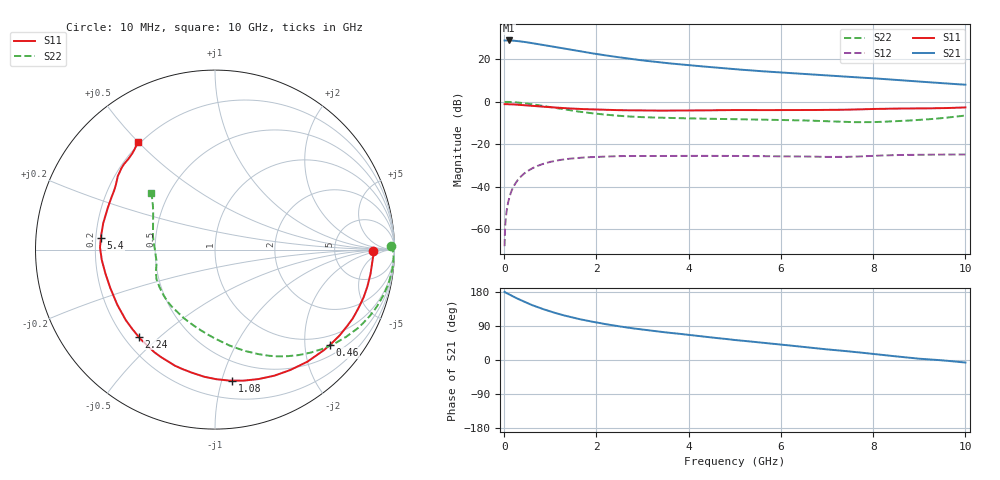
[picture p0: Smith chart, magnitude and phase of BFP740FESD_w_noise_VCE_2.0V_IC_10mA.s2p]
! Infineon Technologies  Discrete & RF Semiconductors
! BFP740FESD
! VCE =  2.0 V,  IC =  10 mA
! Common Emitter S-Parameters:  Jan 2016
# GHz  S  MA  R  50
!  f  S11  S21  S12  S22
! GHz  MAG  ANG  MAG  ANG  MAG  ANG  MAG  ANG
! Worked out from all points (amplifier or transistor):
!   233 points, 10 MHz to 10 GHz, reference 50 ohm
!   highest |S21| = 28.9 dB at 100 MHz (marker M1)
!   |S21| within 3 dB of that: start of sweep to 1.086 GHz
!   unconditionally stable (mu >= 1): 6.439 GHz to end of sweep
!   at 200 MHz: K = 0.04, MSG = 34.4 dB, |S12| = -40.1 dB
!   at 1.74 GHz: K = 0.30, MSG = 24.8 dB, |S12| = -26.2 dB
!   at 10 GHz: K = 1.33, MAG = 13.0 dB, |S12| = -24.8 dB
!   lowest NFmin = 0.61 dB at 450 MHz
!   S11 on the Smith chart (normalised r, x): 10 MHz: 16, -1; 460 MHz: 0.75, -2.59; 1.08 GHz: 0.34, -1.08; 2.24 GHz: 0.26, -0.43; 5.4 GHz: 0.22, +0.05; 10 GHz: 0.19, +0.50
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0.01  0.8809 -0.4  27.78 179.8  0.0004 94.7  0.9811 1.3
0.03  0.8818 -2.7  27.74 178.0  0.0016 86.6  0.9953 -1.7
0.1  0.877 -8.9  27.84 173.9  0.0049 85.0  0.9947 -6.0
0.2  0.8696 -17.9  27.5 167.5  0.0099 80.1  0.982 -12.0
0.26  0.8618 -23.1  27.06 163.6  0.0128 77.1  0.9708 -15.5
0.46  0.8318 -39.6  25.52 152.5  0.0215 68.2  0.9206 -26.5
0.6  0.8093 -50.5  24.22 145.1  0.0269 62.3  0.8777 -33.6
0.7  0.7914 -57.9  23.29 140.6  0.0303 58.6  0.8462 -38.4
0.9  0.761 -71.4  21.38 132.0  0.0361 51.6  0.7827 -47.2
1.08  0.7361 -82.5  19.76 125.2  0.0403 46.1  0.7266 -54.6
1.4  0.6996 -99.8  17.14 114.4  0.0456 37.8  0.638 -66.4
1.68  0.6771 -112.1  15.23 106.6  0.0486 32.2  0.5772 -75.2
1.94  0.6614 -121.7  13.69 100.4  0.0505 27.9  0.5334 -82.5
2.24  0.6456 -131.3  12.22 93.8  0.0519 23.9  0.4942 -90.3
2.8  0.6269 -146.4  10.06 83.4  0.053 18.1  0.446 -103.3
3.4  0.6209 -158.0  8.439 74.5  0.0532 14.3  0.4225 -112.8
4.3  0.6288 -171.9  6.824 62.2  0.0535 10.8  0.402 -124.2
5.1  0.64 177.8  5.755 51.7  0.0531 8.5  0.3887 -134.4
5.4  0.6391 174.3  5.43 48.0  0.0529 7.9  0.3838 -137.8
6.8  0.6428 156.1  4.307 30.6  0.051 6.9  0.3555 -157.4
8.4  0.6914 138.8  3.348 10.8  0.0555 10.7  0.3468 171.9
10  0.7382 125.5  2.53 -6.7  0.0576 7.9  0.4754 138.1
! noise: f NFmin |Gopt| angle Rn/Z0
0.45  0.61  0.23  4  0.1
2.4  0.67  0.14  49  0.1
5.5  0.83  0.3  138  0.07
10  1.41  0.39  -135  0.13
